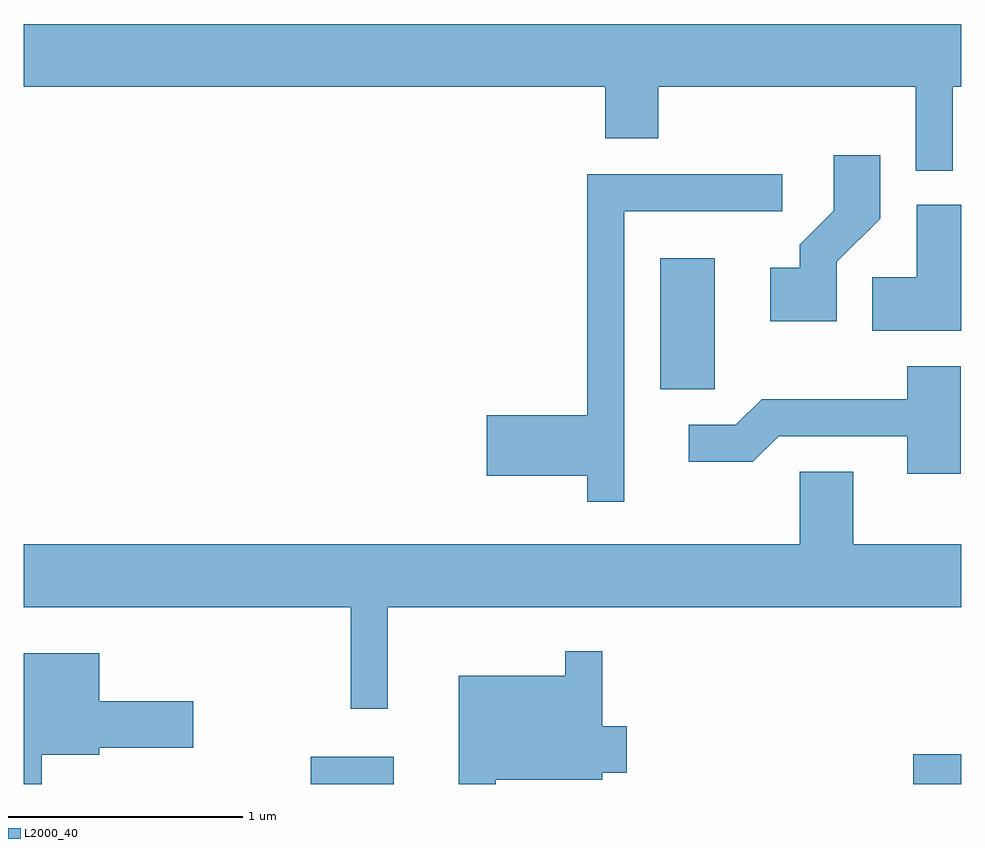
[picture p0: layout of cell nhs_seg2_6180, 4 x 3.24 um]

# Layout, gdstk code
import gdstk
lib = gdstk.Library(unit=1e-6, precision=1e-09)
def R(c, l, rs):  # rectangles x0, y0, x1, y1
    for r in rs: c.add(gdstk.rectangle(r[:2], r[2:], *l))
def P(c, l, *ps):  # polygons
    for p in ps: c.add(gdstk.Polygon(p, *l))
L2000_40 = (2000, 40)

nhs_seg2_6180 = lib.new_cell('nhs_seg2_6180')
R(nhs_seg2_6180, L2000_40, [(368.836,1029.802,369.189,1029.919), (371.406,1029.802,371.611,1029.929), (370.326,1031.486,370.559,1032.044)])
P(nhs_seg2_6180, L2000_40, [(371.574,1032.776),(371.611,1032.776),(371.611,1033.044),(367.611,1033.044),(367.611,1032.776),(370.091,1032.776),(370.091,1032.556),(370.319,1032.556),(370.319,1032.776),(371.416,1032.776),(371.416,1032.418),(371.574,1032.418)],
  [(371.079,1032.029),(371.264,1032.214),(371.264,1032.484),(371.066,1032.484),(371.066,1032.247),(370.921,1032.102),(370.921,1032.004),(370.796,1032.004),(370.796,1031.776),(371.079,1031.776)],
  [(370.174,1032.246),(370.848,1032.246),(370.848,1032.404),(370.016,1032.404),(370.016,1031.374),(369.586,1031.374),(369.586,1031.116),(370.016,1031.116),(370.016,1031.007),(370.174,1031.007)],
  [(371.611,1032.274),(371.421,1032.274),(371.421,1031.964),(371.231,1031.964),(371.231,1031.736),(371.611,1031.736)],
  [(371.609,1031.584),(371.381,1031.584),(371.381,1031.444),(370.759,1031.444),(370.649,1031.334),(370.448,1031.334),(370.448,1031.176),(370.722,1031.176),(370.832,1031.286),(371.381,1031.286),(371.381,1031.126),(371.609,1031.126)],
  [(369.164,1030.556),(371.611,1030.556),(371.611,1030.824),(371.149,1030.824),(371.149,1031.134),(370.921,1031.134),(370.921,1030.824),(367.611,1030.824),(367.611,1030.556),(369.006,1030.556),(369.006,1030.123),(369.164,1030.123)],
  [(369.624,1029.821),(370.079,1029.821),(370.079,1029.851),(370.184,1029.851),(370.184,1030.049),(370.079,1030.049),(370.079,1030.368),(369.921,1030.368),(369.921,1030.264),(369.466,1030.264),(369.466,1029.802),(369.624,1029.802)],
  [(367.689,1029.926),(367.934,1029.926),(367.934,1029.956),(368.334,1029.956),(368.334,1030.154),(367.934,1030.154),(367.934,1030.359),(367.611,1030.359),(367.611,1029.802),(367.689,1029.802)])

lib.write_gds('nhs_seg2_6180.gds')
